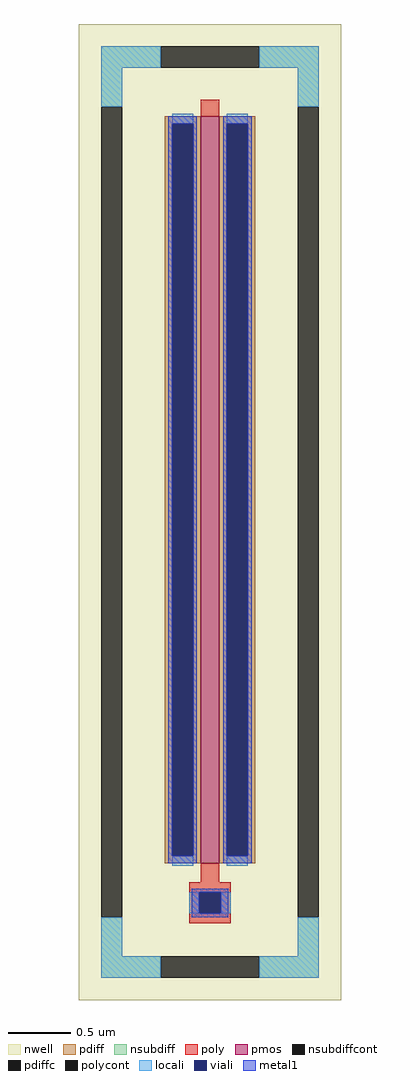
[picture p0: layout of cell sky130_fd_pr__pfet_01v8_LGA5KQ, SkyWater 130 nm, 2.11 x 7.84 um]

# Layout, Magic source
magic
tech sky130A
magscale 1 2
<< nwell >>
rect -211 -784 211 784
<< pmos >>
rect -15 -564 15 636
<< pdiff >>
rect -73 624 -15 636
rect -73 -552 -61 624
rect -27 -552 -15 624
rect -73 -564 -15 -552
rect 15 624 73 636
rect 15 -552 27 624
rect 61 -552 73 624
rect 15 -564 73 -552
<< pdiffc >>
rect -61 -552 -27 624
rect 27 -552 61 624
<< nsubdiff >>
rect -175 714 -79 748
rect 79 714 175 748
rect -175 651 -141 714
rect 141 651 175 714
rect -175 -714 -141 -651
rect 141 -714 175 -651
rect -175 -748 -79 -714
rect 79 -748 175 -714
<< nsubdiffcont >>
rect -79 714 79 748
rect -175 -651 -141 651
rect 141 -651 175 651
rect -79 -748 79 -714
<< poly >>
rect -15 636 15 662
rect -15 -595 15 -564
rect -33 -611 33 -595
rect -33 -645 -17 -611
rect 17 -645 33 -611
rect -33 -661 33 -645
<< polycont >>
rect -17 -645 17 -611
<< locali >>
rect -175 714 -79 748
rect 79 714 175 748
rect -175 651 -141 714
rect 141 651 175 714
rect -61 624 -27 640
rect -61 -568 -27 -552
rect 27 624 61 640
rect 27 -568 61 -552
rect -33 -645 -17 -611
rect 17 -645 33 -611
rect -175 -714 -141 -651
rect 141 -714 175 -651
rect -175 -748 -79 -714
rect 79 -748 175 -714
<< viali >>
rect -61 -552 -27 624
rect 27 -552 61 624
rect -17 -645 17 -611
<< metal1 >>
rect -67 624 -21 636
rect -67 -552 -61 624
rect -27 -552 -21 624
rect -67 -564 -21 -552
rect 21 624 67 636
rect 21 -552 27 624
rect 61 -552 67 624
rect 21 -564 67 -552
rect -29 -611 29 -605
rect -29 -645 -17 -611
rect 17 -645 29 -611
rect -29 -651 29 -645
<< properties >>
string FIXED_BBOX -158 -731 158 731
string gencell sky130_fd_pr__pfet_01v8
string library sky130
string parameters w 6.0 l 0.15 m 1 nf 1 diffcov 100 polycov 100 guard 1 glc 1 grc 1 gtc 1 gbc 1 tbcov 100 rlcov 100 topc 0 botc 1 poverlap 0 doverlap 1 lmin 0.15 wmin 0.42 compatible {sky130_fd_pr__pfet_01v8  sky130_fd_pr__pfet_01v8_lvt sky130_fd_pr__pfet_01v8_hvt  sky130_fd_pr__pfet_g5v0d10v5} full_metal 1 viasrc 100 viadrn 100 viagate 100 viagb 0 viagr 0 viagl 0 viagt 0
<< end >>
